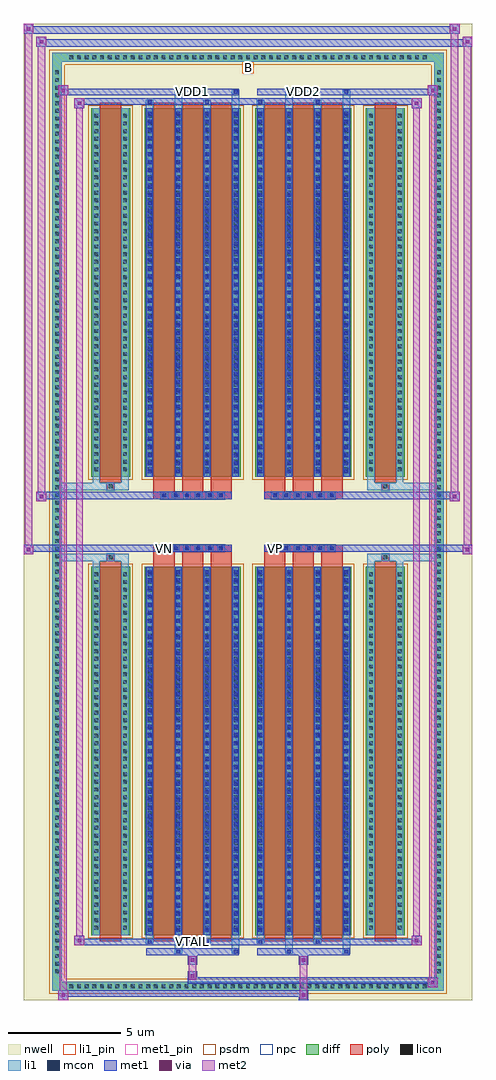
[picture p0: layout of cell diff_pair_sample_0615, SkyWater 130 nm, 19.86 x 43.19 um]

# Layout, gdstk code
import gdstk
lib = gdstk.Library(unit=1e-6, precision=5e-09)
def R(c, l, rs):  # rectangles x0, y0, x1, y1
    for r in rs: c.add(gdstk.rectangle(r[:2], r[2:], *l))
def A(c, l, x, y, w, h, nx, ny, dx, dy):  # array of equal rectangles
    R(c, l, [(x+i*dx, y+j*dy, x+i*dx+w, y+j*dy+h) for i in range(nx) for j in range(ny)])
def P(c, l, *ps):  # polygons
    for p in ps: c.add(gdstk.Polygon(p, *l))
nwell = (64, 20)
diff = (65, 20)
poly = (66, 20)
licon = (66, 44)
li1_pin = (67, 16)
li1 = (67, 20)
mcon = (67, 44)
met1_pin = (68, 16)
met1 = (68, 20)
via = (68, 44)
met2 = (69, 20)
psdm = (94, 20)
npc = (95, 20)

diff_pair_sample_0615 = lib.new_cell('diff_pair_sample_0615')
R(diff_pair_sample_0615, nwell, [(-9.93,-21.16,9.93,22.03), (-7.25,-19.35,-0.01,-0.805), (0.01,-19.35,7.25,-0.805), (-7.25,0.805,-0.01,19.35), (0.01,0.805,7.25,19.35)])
A(diff_pair_sample_0615, diff, -8.025, -20.76, 0.41, 0.41, 47, 2, 0.34, 41.11)
A(diff_pair_sample_0615, diff, -8.66, -20.095, 0.41, 0.41, 1, 118, 0, 0.34)
A(diff_pair_sample_0615, diff, 8.25, -20.095, 0.41, 0.41, 1, 118, 0, 0.34)
R(diff_pair_sample_0615, diff, [(-8.025,-20.76,8.025,-20.35), (-8.66,-20.095,-8.25,20.095), (8.25,-20.095,8.66,20.095), (-6.94,-18.305,-5.22,-1.985), (-4.58,-18.305,-0.32,-1.985), (0.32,-18.305,4.58,-1.985), (5.22,-18.305,6.94,-1.985), (-6.94,1.985,-5.22,18.305), (-4.58,1.985,-0.32,18.305), (0.32,1.985,4.58,18.305), (5.22,1.985,6.94,18.305), (-8.025,20.35,8.025,20.76)])
P(diff_pair_sample_0615, diff, [(8.66,20.76),(-8.66,20.76),(-8.66,-20.35),(-8.25,-20.35),(-8.25,20.35),(8.25,20.35),(8.25,-20.35),(-8.25,-20.35),(-8.66,-20.35),(-8.66,-20.76),(8.66,-20.76)])
A(diff_pair_sample_0615, poly, -4.19, -18.555, 0.94, 16.82, 3, 2, 1.27, 20.29)
A(diff_pair_sample_0615, poly, 0.71, -18.555, 0.94, 16.82, 3, 2, 1.27, 20.29)
A(diff_pair_sample_0615, poly, -4.19, -1.735, 0.94, 0.4, 3, 2, 1.27, 3.07)
A(diff_pair_sample_0615, poly, 0.71, -1.735, 0.94, 0.4, 3, 2, 1.27, 3.07)
A(diff_pair_sample_0615, poly, -3.865, -1.335, 0.33, 0.33, 6, 2, 0.5, 2.34)
A(diff_pair_sample_0615, poly, 1.035, -1.335, 0.33, 0.33, 6, 2, 0.5, 2.34)
R(diff_pair_sample_0615, poly, [(-6.55,-18.555,-5.61,-1.735), (5.61,-18.555,6.55,-1.735), (-6.245,-1.735,-5.915,-1.405), (-6.245,-1.735,-5.915,-1.405), (5.915,-1.735,6.245,-1.405), (5.915,-1.735,6.245,-1.405), (-4.19,-1.335,-0.71,-1.005), (0.71,-1.335,4.19,-1.005), (-4.19,1.005,-0.71,1.335), (0.71,1.005,4.19,1.335), (-6.245,1.405,-5.915,1.735), (-6.245,1.405,-5.915,1.735), (5.915,1.405,6.245,1.735), (5.915,1.405,6.245,1.735), (-6.55,1.735,-5.61,18.555), (5.61,1.735,6.55,18.555)])
A(diff_pair_sample_0615, licon, -7.905, -20.64, 0.17, 0.17, 47, 2, 0.34, 41.11)
A(diff_pair_sample_0615, licon, -8.54, -19.975, 0.17, 0.17, 1, 118, 0, 0.34)
A(diff_pair_sample_0615, licon, 8.37, -19.975, 0.17, 0.17, 1, 118, 0, 0.34)
A(diff_pair_sample_0615, licon, -6.8, -18.05, 0.17, 0.17, 1, 47, 0, 0.34)
A(diff_pair_sample_0615, licon, -5.53, -18.05, 0.17, 0.17, 1, 47, 0, 0.34)
A(diff_pair_sample_0615, licon, -4.44, -18.05, 0.17, 0.17, 4, 47, 1.27, 0.34)
A(diff_pair_sample_0615, licon, 0.46, -18.05, 0.17, 0.17, 4, 47, 1.27, 0.34)
A(diff_pair_sample_0615, licon, 5.36, -18.05, 0.17, 0.17, 1, 47, 0, 0.34)
A(diff_pair_sample_0615, licon, 6.63, -18.05, 0.17, 0.17, 1, 47, 0, 0.34)
A(diff_pair_sample_0615, licon, -3.785, -1.255, 0.17, 0.17, 6, 2, 0.5, 2.34)
A(diff_pair_sample_0615, licon, 1.115, -1.255, 0.17, 0.17, 6, 2, 0.5, 2.34)
A(diff_pair_sample_0615, licon, -6.8, 2.24, 0.17, 0.17, 1, 47, 0, 0.34)
A(diff_pair_sample_0615, licon, -5.53, 2.24, 0.17, 0.17, 1, 47, 0, 0.34)
A(diff_pair_sample_0615, licon, -4.44, 2.24, 0.17, 0.17, 4, 47, 1.27, 0.34)
A(diff_pair_sample_0615, licon, 0.46, 2.24, 0.17, 0.17, 4, 47, 1.27, 0.34)
A(diff_pair_sample_0615, licon, 5.36, 2.24, 0.17, 0.17, 1, 47, 0, 0.34)
A(diff_pair_sample_0615, licon, 6.63, 2.24, 0.17, 0.17, 1, 47, 0, 0.34)
R(diff_pair_sample_0615, licon, [(-6.165,-1.655,-5.995,-1.485), (5.995,-1.655,6.165,-1.485), (-6.165,1.485,-5.995,1.655), (5.995,1.485,6.165,1.655)])
R(diff_pair_sample_0615, li1_pin, [(-0.25,19.85,0.25,20.35)])
A(diff_pair_sample_0615, li1, -7.985, -20.72, 0.33, 0.33, 47, 2, 0.34, 41.11)
A(diff_pair_sample_0615, li1, -8.62, -20.055, 0.33, 0.33, 1, 118, 0, 0.34)
A(diff_pair_sample_0615, li1, 8.29, -20.055, 0.33, 0.33, 1, 118, 0, 0.34)
A(diff_pair_sample_0615, li1, -4.52, -18.305, 0.33, 16.32, 4, 2, 1.27, 20.29)
A(diff_pair_sample_0615, li1, 0.38, -18.305, 0.33, 16.32, 4, 2, 1.27, 20.29)
A(diff_pair_sample_0615, li1, -4.44, -18.15, 0.17, 0.17, 4, 45, 1.27, 0.36)
A(diff_pair_sample_0615, li1, -4.44, -18.15, 0.17, 16.01, 4, 2, 1.27, 20.29)
A(diff_pair_sample_0615, li1, 0.46, -18.15, 0.17, 0.17, 4, 45, 1.27, 0.36)
A(diff_pair_sample_0615, li1, 0.46, -18.15, 0.17, 16.01, 4, 2, 1.27, 20.29)
A(diff_pair_sample_0615, li1, -6.88, -18.13, 0.33, 0.33, 1, 47, 0, 0.34)
A(diff_pair_sample_0615, li1, -5.61, -18.13, 0.33, 0.33, 1, 47, 0, 0.34)
A(diff_pair_sample_0615, li1, -4.52, -18.13, 0.33, 0.33, 4, 47, 1.27, 0.34)
A(diff_pair_sample_0615, li1, 0.38, -18.13, 0.33, 0.33, 4, 47, 1.27, 0.34)
A(diff_pair_sample_0615, li1, 5.28, -18.13, 0.33, 0.33, 1, 47, 0, 0.34)
A(diff_pair_sample_0615, li1, 6.55, -18.13, 0.33, 0.33, 1, 47, 0, 0.34)
A(diff_pair_sample_0615, li1, -3.865, -1.335, 0.33, 0.33, 6, 2, 0.5, 2.34)
A(diff_pair_sample_0615, li1, 1.035, -1.335, 0.33, 0.33, 6, 2, 0.5, 2.34)
A(diff_pair_sample_0615, li1, -4.44, 2.14, 0.17, 0.17, 4, 45, 1.27, 0.36)
A(diff_pair_sample_0615, li1, 0.46, 2.14, 0.17, 0.17, 4, 45, 1.27, 0.36)
A(diff_pair_sample_0615, li1, -6.88, 2.16, 0.33, 0.33, 1, 47, 0, 0.34)
A(diff_pair_sample_0615, li1, -5.61, 2.16, 0.33, 0.33, 1, 47, 0, 0.34)
A(diff_pair_sample_0615, li1, -4.52, 2.16, 0.33, 0.33, 4, 47, 1.27, 0.34)
A(diff_pair_sample_0615, li1, 0.38, 2.16, 0.33, 0.33, 4, 47, 1.27, 0.34)
A(diff_pair_sample_0615, li1, 5.28, 2.16, 0.33, 0.33, 1, 47, 0, 0.34)
A(diff_pair_sample_0615, li1, 6.55, 2.16, 0.33, 0.33, 1, 47, 0, 0.34)
R(diff_pair_sample_0615, li1, [(-8.66,-20.76,-8.25,-20.35), (-8.66,-20.76,-8.25,-20.35), (-8.25,-20.76,8.25,-20.35), (8.25,-20.76,8.66,-20.35), (8.25,-20.76,8.66,-20.35), (-8.66,-20.35,-8.25,20.35), (8.25,-20.35,8.66,20.35), (-3.25,-19.11,-2.92,-18.305), (-3.17,-19.11,-3,-18.94), (-0.71,-19.11,-0.38,-18.305), (-0.63,-19.11,-0.46,-18.94), (1.65,-19.11,1.98,-18.305), (1.73,-19.11,1.9,-18.94), (4.19,-19.11,4.52,-18.305), (4.27,-19.11,4.44,-18.94), (-4.52,-18.68,-4.19,-18.305), (-4.44,-18.68,-4.27,-18.51), (-1.98,-18.68,-1.65,-18.305), (-1.9,-18.68,-1.73,-18.51), (0.38,-18.68,0.71,-18.305), (0.46,-18.68,0.63,-18.51), (2.92,-18.68,3.25,-18.305), (3,-18.68,3.17,-18.51), (-6.88,-18.305,-6.55,-1.985), (-5.61,-18.305,-5.28,-1.985), (5.28,-18.305,5.61,-1.985), (6.55,-18.305,6.88,-1.985), (-6.88,-1.985,-6.55,-1.405), (-5.61,-1.985,-5.28,-1.405), (5.28,-1.985,5.61,-1.405), (6.55,-1.985,6.88,-1.405), (-8.66,-1.735,-6.245,-1.405), (-6.88,-1.735,-6.245,-1.405), (-6.245,-1.735,-5.915,-1.405), (-5.915,-1.735,-5.28,-1.405), (5.28,-1.735,5.915,-1.405), (5.915,-1.735,6.245,-1.405), (5.915,-1.735,8.66,-1.405), (6.245,-1.735,6.88,-1.405), (-8.66,1.405,-6.245,1.735), (-6.88,1.405,-6.245,1.735), (-6.88,1.405,-6.55,1.985), (-6.245,1.405,-5.915,1.735), (-5.915,1.405,-5.28,1.735), (-5.61,1.405,-5.28,1.985), (5.28,1.405,5.915,1.735), (5.28,1.405,5.61,1.985), (5.915,1.405,6.245,1.735), (5.915,1.405,8.66,1.735), (6.245,1.405,6.88,1.735), (6.55,1.405,6.88,1.985), (-6.88,1.985,-6.55,18.305), (-5.61,1.985,-5.28,18.305), (5.28,1.985,5.61,18.305), (6.55,1.985,6.88,18.305), (-4.52,18.305,-4.19,18.68), (-3.25,18.305,-2.92,19.11), (-1.98,18.305,-1.65,18.68), (-0.71,18.305,-0.38,19.11), (0.38,18.305,0.71,18.68), (1.65,18.305,1.98,19.11), (2.92,18.305,3.25,18.68), (4.19,18.305,4.52,19.11), (-4.44,18.51,-4.27,18.68), (-1.9,18.51,-1.73,18.68), (0.46,18.51,0.63,18.68), (3,18.51,3.17,18.68), (-3.17,18.94,-3,19.11), (-0.63,18.94,-0.46,19.11), (1.73,18.94,1.9,19.11), (4.27,18.94,4.44,19.11), (-8.66,20.35,-8.25,20.76), (-8.66,20.35,-8.25,20.76), (-8.25,20.35,8.25,20.76), (8.25,20.35,8.66,20.76), (8.25,20.35,8.66,20.76)])
A(diff_pair_sample_0615, mcon, -4.44, -18.15, 0.17, 0.17, 4, 45, 1.27, 0.36)
A(diff_pair_sample_0615, mcon, 0.46, -18.15, 0.17, 0.17, 4, 45, 1.27, 0.36)
A(diff_pair_sample_0615, mcon, -3.785, -1.255, 0.17, 0.17, 6, 2, 0.5, 2.34)
A(diff_pair_sample_0615, mcon, 1.115, -1.255, 0.17, 0.17, 6, 2, 0.5, 2.34)
A(diff_pair_sample_0615, mcon, -4.44, 2.14, 0.17, 0.17, 4, 45, 1.27, 0.36)
A(diff_pair_sample_0615, mcon, 0.46, 2.14, 0.17, 0.17, 4, 45, 1.27, 0.36)
R(diff_pair_sample_0615, mcon, [(-3.17,-19.11,-3,-18.94), (-0.63,-19.11,-0.46,-18.94), (1.73,-19.11,1.9,-18.94), (4.27,-19.11,4.44,-18.94), (-4.44,-18.68,-4.27,-18.51), (-1.9,-18.68,-1.73,-18.51), (0.46,-18.68,0.63,-18.51), (3,-18.68,3.17,-18.51), (-4.44,18.51,-4.27,18.68), (-1.9,18.51,-1.73,18.68), (0.46,18.51,0.63,18.68), (3,18.51,3.17,18.68), (-3.17,18.94,-3,19.11), (-0.63,18.94,-0.46,19.11), (1.73,18.94,1.9,19.11), (4.27,18.94,4.44,19.11)])
R(diff_pair_sample_0615, met1_pin, [(-2.585,-18.72,-2.315,-18.45), (-3.835,-1.295,-3.565,-1.025), (1.065,-1.295,1.335,-1.025), (-2.585,18.9,-2.315,19.17), (2.315,18.9,2.585,19.17)])
A(diff_pair_sample_0615, met1, -4.5, -18.305, 0.29, 16.32, 4, 2, 1.27, 20.29)
A(diff_pair_sample_0615, met1, 0.4, -18.305, 0.29, 16.32, 4, 2, 1.27, 20.29)
A(diff_pair_sample_0615, met1, -4.5, -18.21, 0.29, 0.29, 4, 45, 1.27, 0.36)
A(diff_pair_sample_0615, met1, 0.4, -18.21, 0.29, 0.29, 4, 45, 1.27, 0.36)
A(diff_pair_sample_0615, met1, -3.845, -1.315, 0.29, 0.29, 6, 2, 0.5, 2.34)
A(diff_pair_sample_0615, met1, 1.055, -1.315, 0.29, 0.29, 6, 2, 0.5, 2.34)
A(diff_pair_sample_0615, met1, -4.5, 2.08, 0.29, 0.29, 4, 45, 1.27, 0.36)
A(diff_pair_sample_0615, met1, 0.4, 2.08, 0.29, 0.29, 4, 45, 1.27, 0.36)
R(diff_pair_sample_0615, met1, [(-8.39,-21.16,-7.96,-20.73), (2.235,-21.16,2.665,-20.73), (-8.39,-21.02,2.665,-20.73), (7.96,-20.59,8.39,-20.16), (-2.665,-20.45,8.39,-20.16), (-2.665,-20.31,-2.235,-19.88), (-2.665,-19.6,-2.235,-19.17), (2.235,-19.6,2.665,-19.17), (-4.5,-19.17,-0.4,-18.88), (-3.23,-19.17,-2.94,-18.88), (-0.69,-19.17,-0.4,-18.88), (0.4,-19.17,4.5,-18.88), (1.67,-19.17,1.96,-18.88), (4.21,-19.17,4.5,-18.88), (-7.68,-18.74,-7.25,-18.31), (-7.68,-18.74,-4.5,-18.45), (-4.5,-18.74,-4.21,-18.45), (-4.5,-18.74,-0.4,-18.45), (-1.96,-18.74,-1.67,-18.45), (-0.4,-18.74,0.4,-18.45), (0.4,-18.74,0.69,-18.45), (0.4,-18.74,4.5,-18.45), (2.94,-18.74,3.23,-18.45), (4.5,-18.74,7.68,-18.45), (7.25,-18.74,7.68,-18.31), (-9.93,-1.435,-9.5,-1.005), (9.5,-1.435,9.93,-1.005), (-9.93,-1.335,-0.71,-1.005), (-4.19,-1.335,-0.71,-1.005), (0.71,-1.335,4.19,-1.005), (0.71,-1.335,9.93,-1.005), (-9.36,0.905,-8.93,1.335), (8.93,0.905,9.36,1.335), (-9.36,1.005,-4.19,1.335), (-4.19,1.005,-0.71,1.335), (0.71,1.005,4.19,1.335), (4.19,1.005,9.36,1.335), (-7.68,18.31,-7.25,18.74), (7.25,18.31,7.68,18.74), (-7.68,18.45,-4.5,18.74), (-4.5,18.45,-4.21,18.74), (-4.5,18.45,-0.4,18.74), (-1.96,18.45,-1.67,18.74), (-0.4,18.45,0.4,18.74), (0.4,18.45,0.69,18.74), (0.4,18.45,4.5,18.74), (2.94,18.45,3.23,18.74), (4.5,18.45,7.68,18.74), (-8.39,18.88,-7.96,19.31), (-8.39,18.88,-4.5,19.17), (-4.5,18.88,-0.4,19.17), (-3.23,18.88,-2.94,19.17), (-0.69,18.88,-0.4,19.17), (0.4,18.88,4.5,19.17), (1.67,18.88,1.96,19.17), (4.21,18.88,4.5,19.17), (4.5,18.88,8.39,19.17), (7.96,18.88,8.39,19.31), (-9.36,21.03,-8.93,21.46), (-9.36,21.03,-7.25,21.36), (-7.25,21.03,7.25,21.36), (7.25,21.03,9.93,21.36), (9.5,21.03,9.93,21.46), (-9.93,21.6,-9.5,22.03), (-9.93,21.6,-7.25,21.93), (-7.25,21.6,7.25,21.93), (7.25,21.6,9.36,21.93), (8.93,21.6,9.36,22.03)])
R(diff_pair_sample_0615, via, [(-8.25,-21.02,-8.1,-20.87), (2.375,-21.02,2.525,-20.87), (8.1,-20.45,8.25,-20.3), (-2.525,-20.17,-2.375,-20.02), (-2.525,-19.46,-2.375,-19.31), (2.375,-19.46,2.525,-19.31), (-7.54,-18.6,-7.39,-18.45), (7.39,-18.6,7.54,-18.45), (-9.79,-1.295,-9.64,-1.145), (9.64,-1.295,9.79,-1.145), (-9.22,1.045,-9.07,1.195), (9.07,1.045,9.22,1.195), (-7.54,18.45,-7.39,18.6), (7.39,18.45,7.54,18.6), (-8.25,19.02,-8.1,19.17), (8.1,19.02,8.25,19.17), (-9.22,21.17,-9.07,21.32), (9.64,21.17,9.79,21.32), (-9.79,21.74,-9.64,21.89), (9.07,21.74,9.22,21.89)])
R(diff_pair_sample_0615, met2, [(-8.39,-21.16,-7.96,-20.73), (-8.32,-21.16,-8.03,19.31), (-8.03,-21.16,-7.96,-20.73), (-8.34,-21.11,-8.01,-20.78), (2.285,-21.11,2.615,-20.78), (2.285,-20.78,2.615,-19.55), (7.96,-20.59,8.39,-20.16), (8.03,-20.59,8.32,19.31), (8.32,-20.59,8.39,-20.16), (8.01,-20.54,8.34,-20.21), (-2.615,-20.26,-2.285,-19.93), (-2.615,-19.93,-2.285,-19.55), (-2.615,-19.55,-2.285,-19.22), (2.285,-19.55,2.615,-19.22), (-7.68,-18.74,-7.25,-18.31), (-7.61,-18.74,-7.32,18.74), (-7.32,-18.74,-7.25,-18.31), (7.25,-18.74,7.68,-18.31), (7.32,-18.74,7.61,18.74), (7.61,-18.74,7.68,-18.31), (-7.63,-18.69,-7.3,-18.36), (7.3,-18.69,7.63,-18.36), (-9.93,-1.435,-9.5,-1.005), (-9.88,-1.435,-9.55,22.03), (-9.55,-1.435,-9.5,-1.005), (9.5,-1.435,9.93,-1.005), (9.55,-1.435,9.88,21.46), (9.88,-1.435,9.93,-1.005), (-9.88,-1.385,-9.55,-1.055), (9.55,-1.385,9.88,-1.055), (-9.36,0.905,-8.93,1.335), (-9.31,0.905,-8.98,21.46), (-8.98,0.905,-8.93,1.335), (8.93,0.905,9.36,1.335), (8.98,0.905,9.31,22.03), (9.31,0.905,9.36,1.335), (-9.31,0.955,-8.98,1.285), (8.98,0.955,9.31,1.285), (-7.68,18.31,-7.25,18.74), (-7.32,18.31,-7.25,18.74), (7.25,18.31,7.68,18.74), (7.61,18.31,7.68,18.74), (-7.63,18.36,-7.3,18.69), (7.3,18.36,7.63,18.69), (-8.39,18.88,-7.96,19.31), (-8.03,18.88,-7.96,19.31), (7.96,18.88,8.39,19.31), (8.32,18.88,8.39,19.31), (-8.34,18.93,-8.01,19.26), (8.01,18.93,8.34,19.26), (-9.36,21.03,-8.93,21.46), (-8.98,21.03,-8.93,21.46), (9.5,21.03,9.93,21.46), (9.88,21.03,9.93,21.46), (-9.31,21.08,-8.98,21.41), (9.55,21.08,9.88,21.41), (-9.93,21.6,-9.5,22.03), (-9.55,21.6,-9.5,22.03), (8.93,21.6,9.36,22.03), (9.31,21.6,9.36,22.03), (-9.88,21.65,-9.55,21.98), (8.98,21.65,9.31,21.98)])
R(diff_pair_sample_0615, psdm, [(-7.07,-18.435,-5.09,-1.855), (-4.71,-18.435,-0.19,-1.855), (0.19,-18.435,4.71,-1.855), (5.09,-18.435,7.07,-1.855), (-7.07,1.855,-5.09,18.435), (-4.71,1.855,-0.19,18.435), (0.19,1.855,4.71,18.435), (5.09,1.855,7.07,18.435)])
P(diff_pair_sample_0615, psdm, [(8.79,20.89),(-8.79,20.89),(-8.79,-20.22),(-8.12,-20.22),(-8.12,20.22),(8.12,20.22),(8.12,-20.22),(-8.12,-20.22),(-8.79,-20.22),(-8.79,-20.89),(8.79,-20.89)])
A(diff_pair_sample_0615, npc, -3.885, -1.355, 0.37, 0.37, 6, 2, 0.5, 2.34)
A(diff_pair_sample_0615, npc, 1.015, -1.355, 0.37, 0.37, 6, 2, 0.5, 2.34)
R(diff_pair_sample_0615, npc, [(-6.265,-1.755,-5.895,-1.385), (5.895,-1.755,6.265,-1.385), (-3.885,-1.355,-3.015,-0.985), (-3.885,-1.355,-3.015,-0.985), (-3.385,-1.355,-2.515,-0.985), (-3.385,-1.355,-2.515,-0.985), (-2.885,-1.355,-2.015,-0.985), (-2.885,-1.355,-2.015,-0.985), (-2.385,-1.355,-1.515,-0.985), (-2.385,-1.355,-1.515,-0.985), (-1.885,-1.355,-1.015,-0.985), (-1.885,-1.355,-1.015,-0.985), (1.015,-1.355,1.885,-0.985), (1.015,-1.355,1.885,-0.985), (1.515,-1.355,2.385,-0.985), (1.515,-1.355,2.385,-0.985), (2.015,-1.355,2.885,-0.985), (2.015,-1.355,2.885,-0.985), (2.515,-1.355,3.385,-0.985), (2.515,-1.355,3.385,-0.985), (3.015,-1.355,3.885,-0.985), (3.015,-1.355,3.885,-0.985), (-3.885,0.985,-3.015,1.355), (-3.885,0.985,-3.015,1.355), (-3.385,0.985,-2.515,1.355), (-3.385,0.985,-2.515,1.355), (-2.885,0.985,-2.015,1.355), (-2.885,0.985,-2.015,1.355), (-2.385,0.985,-1.515,1.355), (-2.385,0.985,-1.515,1.355), (-1.885,0.985,-1.015,1.355), (-1.885,0.985,-1.015,1.355), (1.015,0.985,1.885,1.355), (1.015,0.985,1.885,1.355), (1.515,0.985,2.385,1.355), (1.515,0.985,2.385,1.355), (2.015,0.985,2.885,1.355), (2.015,0.985,2.885,1.355), (2.515,0.985,3.385,1.355), (2.515,0.985,3.385,1.355), (3.015,0.985,3.885,1.355), (3.015,0.985,3.885,1.355), (-6.265,1.385,-5.895,1.755), (5.895,1.385,6.265,1.755)])
diff_pair_sample_0615.add(gdstk.Label('VTAIL', (-2.45,-18.585), layer=68, texttype=5))
diff_pair_sample_0615.add(gdstk.Label('VN', (-3.7,-1.16), layer=68, texttype=5))
diff_pair_sample_0615.add(gdstk.Label('VP', (1.2,-1.16), layer=68, texttype=5))
diff_pair_sample_0615.add(gdstk.Label('B', (0,20.1), layer=67, texttype=5))
diff_pair_sample_0615.add(gdstk.Label('VDD2', (2.45,19.035), layer=68, texttype=5))
diff_pair_sample_0615.add(gdstk.Label('VDD1', (-2.45,19.035), layer=68, texttype=5))

lib.write_gds('diff_pair_sample_0615.gds')
